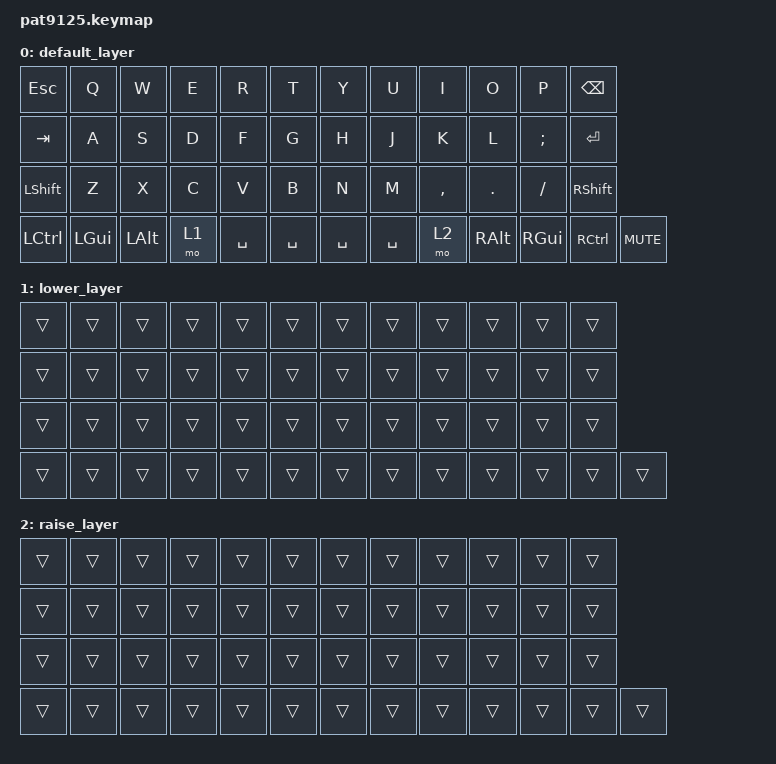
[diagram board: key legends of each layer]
#include <behaviors.dtsi>
#include <dt-bindings/zmk/keys.h>
#include <dt-bindings/zmk/bt.h>

/ {
    keymap {
        compatible = "zmk,keymap";

        default_layer {
            // Base Layer
            bindings = <
                &kp ESC   &kp Q  &kp W  &kp E  &kp R  &kp T    &kp Y  &kp U  &kp I     &kp O   &kp P    &kp BSPC
                &kp TAB   &kp A  &kp S  &kp D  &kp F  &kp G    &kp H  &kp J  &kp K     &kp L   &kp SEMI &kp RET
                &kp LSHFT &kp Z  &kp X  &kp C  &kp V  &kp B    &kp N  &kp M  &kp COMMA &kp DOT &kp FSLH &kp RSHFT
                &kp LCTRL &kp LGUI &kp LALT &mo 1 &kp SPACE &kp SPACE &kp SPACE &kp SPACE &mo 2 &kp RALT &kp RGUI &kp RCTRL &kp C_MUTE
            >;
        };

        // Layer 1 (Lower)
        lower_layer {
            bindings = <
                &trans &trans &trans &trans &trans &trans  &trans &trans &trans &trans &trans &trans
                &trans &trans &trans &trans &trans &trans  &trans &trans &trans &trans &trans &trans
                &trans &trans &trans &trans &trans &trans  &trans &trans &trans &trans &trans &trans
                &trans &trans &trans &trans &trans &trans  &trans &trans &trans &trans &trans &trans &trans
            >;
        };

        // Layer 2 (Raise)
        raise_layer {
            bindings = <
                &trans &trans &trans &trans &trans &trans  &trans &trans &trans &trans &trans &trans
                &trans &trans &trans &trans &trans &trans  &trans &trans &trans &trans &trans &trans
                &trans &trans &trans &trans &trans &trans  &trans &trans &trans &trans &trans &trans
                &trans &trans &trans &trans &trans &trans  &trans &trans &trans &trans &trans &trans &trans
            >;
        };
    };
};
